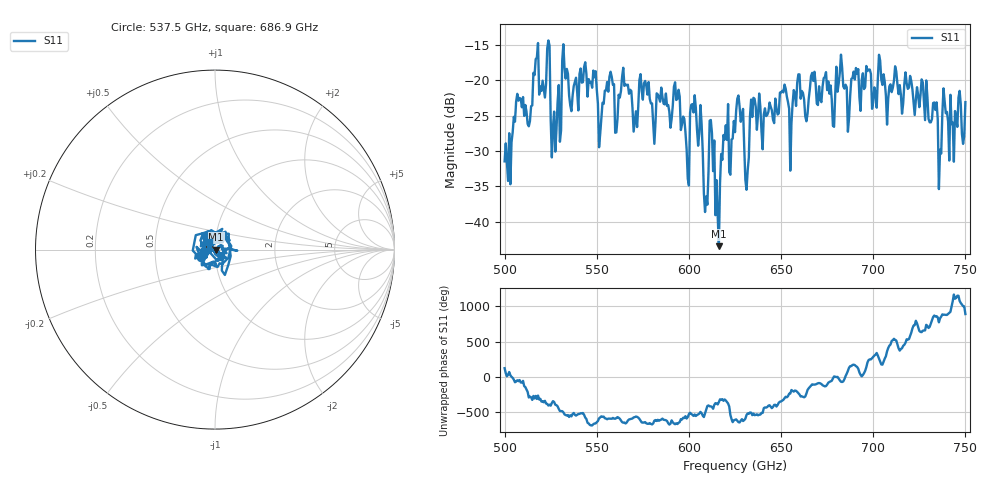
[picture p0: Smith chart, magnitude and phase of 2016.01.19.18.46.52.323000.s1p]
!Created with skrf (http://scikit-rf.org).
# GHz S RI R 50.0
!freq ReS11 ImS11
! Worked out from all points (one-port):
!   401 points, 500 GHz to 750 GHz, reference 50 ohm
!   lowest |S11| = -43.5 dB at 616.2 GHz (marker M1), VSWR 1.01, Z = 50.7 + j0.0342 ohm
!   |S11| at or under -10 dB: start of sweep to end of sweep
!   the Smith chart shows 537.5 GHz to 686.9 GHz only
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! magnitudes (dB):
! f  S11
! 500 GHz  -31.5
! 507.5 GHz  -22.9
! 513.8 GHz  -25.8
! 516.9 GHz  -17.0
! 523.8 GHz  -14.4
! 526.9 GHz  -24.4
! 531.2 GHz  -17.2
! 551.9 GHz  -27.6
! 562.5 GHz  -22.5
! 593.8 GHz  -22.7
! 598.8 GHz  -29.8
! 602.5 GHz  -24.6
! 609.4 GHz  -36.4
! 612.5 GHz  -27.5
! 616.2 GHz  -43.5
! 620 GHz  -26.4
! 625 GHz  -27.4
! 628.1 GHz  -25.9
! 631.2 GHz  -35.5
! 635 GHz  -22.5
! 656.2 GHz  -23.3
! 667.5 GHz  -20.1
! 687.5 GHz  -22.2
! 718.8 GHz  -21.2
! 733.8 GHz  -24.2
! 736.2 GHz  -29.8
! 738.8 GHz  -23.0
! 750 GHz  -23.1
